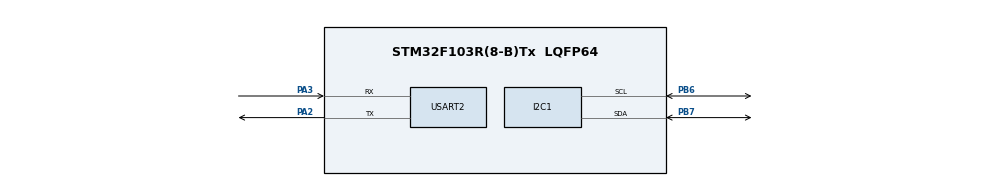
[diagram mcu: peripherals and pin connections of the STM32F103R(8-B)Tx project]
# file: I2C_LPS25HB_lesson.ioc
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Mcu.Family=STM32F1
Mcu.Name=STM32F103R(8-B)Tx
Mcu.Package=LQFP64
NVIC.PriorityGroup=NVIC_PRIORITYGROUP_4
PA13.Mode=Serial_Wire
PA13.Signal=SYS_JTMS-SWDIO
PA14.Mode=Serial_Wire
PA14.Signal=SYS_JTCK-SWCLK
PA2.Mode=Asynchronous
PA2.Signal=USART2_TX
PA3.Mode=Asynchronous
PA3.Signal=USART2_RX
PB6.Mode=I2C
PB6.Signal=I2C1_SCL
PB7.Mode=I2C
PB7.Signal=I2C1_SDA
ProjectManager.HeapSize=0x200
ProjectManager.StackSize=0x400
ProjectManager.TargetToolchain=STM32CubeIDE
RCC.APB1Freq_Value=8000000
RCC.APB2Freq_Value=8000000
USART2.VirtualMode=VM_ASYNC
board=custom

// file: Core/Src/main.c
/* USER CODE BEGIN Header */
/**
  ******************************************************************************
  * @file           : main.c
  * @brief          : Main program body
  ******************************************************************************
  * @attention
  *
  * Copyright (c) 2024 STMicroelectronics.
  * All rights reserved.
  *
  * This software is licensed under terms that can be found in the LICENSE file
  * in the root directory of this software component.
  * If no LICENSE file comes with this software, it is provided AS-IS.
  *
  ******************************************************************************
  */
/* USER CODE END Header */
#include "main.h"
#include "i2c.h"
#include "usart.h"
#include "gpio.h"

/* USER CODE BEGIN Includes */
#include <stdio.h>
#include <math.h>
#include "lps25hb.h"
/* USER CODE END Includes */

/* USER CODE BEGIN PD */
#define LPS25HB_ADDR 0xBA

#define LPS25HB_WHO_AM_I 		0x0F
#define LPS25HB_CTRL_REG1 		0x20
#define LPS25HB_CTRL_REG2 		0x21
#define LPS25HB_CTRL_REG3 		0x22
#define LPS25HB_CTRL_REG4 		0x23
#define LPS25HB_PRESS_OUT_XL 	0x28
#define LPS25HB_PRESS_OUT_L 	0x29
#define LPS25HB_PRESS_OUT_H 	0x2A
#define LPS25HB_TEMP_OUT_L 		0x2B
#define LPS25HB_TEMP_OUT_H 		0x2C

#define LPS25HB_CTRL_REG1_PD 0x80
#define LPS25HB_CTRL_REG1_ODR2 0x40
#define LPS25HB_CTRL_REG1_ODR1 0x20
#define LPS25HB_CTRL_REG1_ODR0 0x10
/* USER CODE END PD */

void SystemClock_Config(void);

/* USER CODE BEGIN 0 */
int __io_putchar(int ch)
{
	if (ch == '\n')
		__io_putchar('\r');

	HAL_UART_Transmit(&huart2, (uint8_t*)&ch, sizeof(ch), HAL_MAX_DELAY);
	return 1;
}
/* USER CODE END 0 */

int main(void)
{

  /* MCU Configuration--------------------------------------------------------*/

  /* Reset of all peripherals, Initializes the Flash interface and the Systick. */
  HAL_Init();

  /* Configure the system clock */
  SystemClock_Config();

  /* Initialize all configured peripherals */
  MX_GPIO_Init();
  MX_I2C1_Init();
  MX_USART2_UART_Init();

  /* Infinite loop */
  /* USER CODE BEGIN WHILE */
  printf("Searching...\n");
  if (LPS25HB_Init() == HAL_OK) {
	  printf("Found: LPS25HB\n");
  } else {
	  printf("Error, LPS25HB not found\n");
	  Error_Handler();
  }

  HAL_Delay(5000);

  float p0 = LPS25HB_Read_Pressure();

  while (1)
  {
	  float temp = LPS25HB_Read_Temp() + 273.15f;
	  float p = LPS25HB_Read_Pressure();
	  float h = -29.271769 * temp * log(p / p0);

	  printf("h = %.2f m\n", h);
	  HAL_Delay(1000);
    /* USER CODE END WHILE */

  }
}

void SystemClock_Config(void)
{
  RCC_OscInitTypeDef RCC_OscInitStruct = {0};
  RCC_ClkInitTypeDef RCC_ClkInitStruct = {0};

  /** Initializes the RCC Oscillators according to the specified parameters
  * in the RCC_OscInitTypeDef structure.
  */
  RCC_OscInitStruct.OscillatorType = RCC_OSCILLATORTYPE_HSI;
  RCC_OscInitStruct.HSIState = RCC_HSI_ON;
  RCC_OscInitStruct.HSICalibrationValue = RCC_HSICALIBRATION_DEFAULT;
  RCC_OscInitStruct.PLL.PLLState = RCC_PLL_NONE;
  if (HAL_RCC_OscConfig(&RCC_OscInitStruct) != HAL_OK)
  {
    Error_Handler();
  }

  /** Initializes the CPU, AHB and APB buses clocks
  */
  RCC_ClkInitStruct.ClockType = RCC_CLOCKTYPE_HCLK|RCC_CLOCKTYPE_SYSCLK
                              |RCC_CLOCKTYPE_PCLK1|RCC_CLOCKTYPE_PCLK2;
  RCC_ClkInitStruct.SYSCLKSource = RCC_SYSCLKSOURCE_HSI;
  RCC_ClkInitStruct.AHBCLKDivider = RCC_SYSCLK_DIV1;
  RCC_ClkInitStruct.APB1CLKDivider = RCC_HCLK_DIV1;
  RCC_ClkInitStruct.APB2CLKDivider = RCC_HCLK_DIV1;

  if (HAL_RCC_ClockConfig(&RCC_ClkInitStruct, FLASH_LATENCY_0) != HAL_OK)
  {
    Error_Handler();
  }
}

void Error_Handler(void)
{
  __disable_irq();
  while (1)
  {
  }
}
